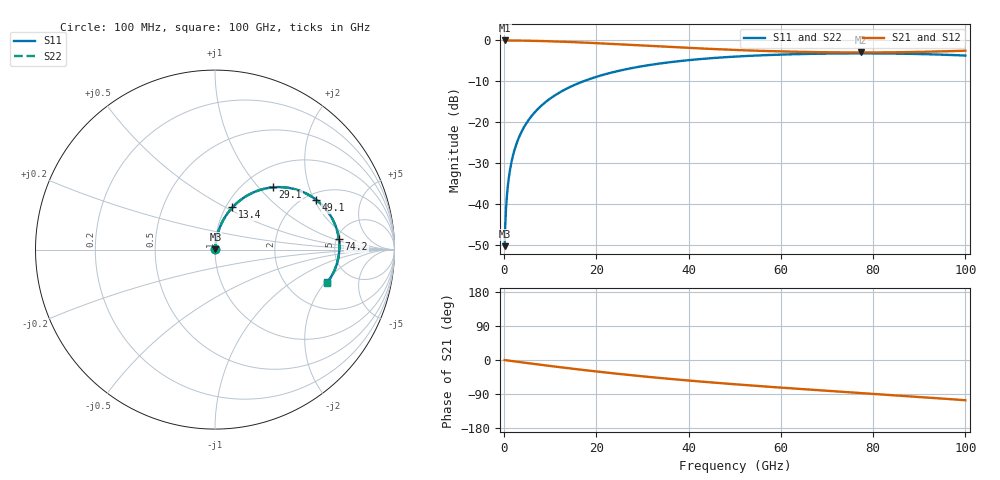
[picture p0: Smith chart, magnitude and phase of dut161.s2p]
! Touchstone file exported from HFSS 2026.1.0
!  File:  C:/ffzhzh/LocalFiles/Ansys_Project_Files/temp_train_RDL_161_1783500084_9504.aedt
!  Generated:  04:42:31 PM Jul  8, 2026
!  Design:  RDL
!  Project:  temp_train_RDL_161_1783500084_9504
! Variables:
!  h_bsmrdl = 2um
!  h_ox = 20um
!  h_rdl = 5um
!  h_sub = 80um
!  h_tmrdl = 3.97um
!  h_tsv = 80um
!  h_via = 3um
!  l_bsmrdl = 300um
!  l_sub = 755.92um
!  l_tmrdl = 355.92um
!  m_sub = 200um
!  pitch = 56.79um
!  r_tsv = 6um
!  s_tmrdl = 10um
!  w_bsmrdl = 18um
!  w_sub = 500um
!  w_tmrdl = 15.17um
!  x_tsv_center1 = 363.505um
!  x_tsv_center2 = 681.505um
!  x_tsv_center3 = 1052.595um
!  x_tsv_center4 = 1370.595um
!  x_tsv_center5 = 1741.685um
!  x_tsv_center6 = 2059.685um
# GHz S MA R 50.000000
! Terminal data exported
! Port[1] = TM_RDL1_1_T1
! Port[2] = TM_RDL1_1_T2
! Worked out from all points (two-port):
!   1000 points, 100 MHz to 100 GHz, reference 50 ohm
!   highest |S21| = -0.02 dB at 100 MHz (marker M1); lowest = -2.9 dB at 77.4 GHz (marker M2)
!   |S21| within 3 dB of the highest: start of sweep to end of sweep
!   lowest |S11| = -50.3 dB at 100 MHz (marker M3), VSWR 1.01, Z = 50.2 + j0.214 ohm
!   |S11| at or under -10 dB: start of sweep to 17.16 GHz
!   |S22| runs from -50.3 to -3.2 dB; largest |S21 - S12| = 4.6e-15
!   S11 on the Smith chart (normalised r, x): 100 MHz: 1.00, +0.00; 13.4 GHz: 1.07, +0.54; 29.1 GHz: 1.34, +1.20; 49.1 GHz: 2.27, +2.08; 74.2 GHz: 5.22, +1.20; 100 GHz: 3.32, -2.11
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0.1  0.003071 43.8  0.9978 -0.2  0.9978 -0.2  0.003071 43.8
! Gamma 0 0 0 0
! Port Impedance 50 0 50 0
0.4  0.008716 73.5  0.9976 -0.7  0.9976 -0.7  0.008716 73.5
0.8  0.01672 79.9  0.9973 -1.3  0.9973 -1.3  0.01672 79.9
1  0.02075 81.2  0.9972 -1.6  0.9972 -1.6  0.02075 81.2
1.3  0.02681 82.2  0.997 -2.1  0.997 -2.1  0.02681 82.2
2.1  0.04299 82.7  0.9962 -3.4  0.9962 -3.4  0.04299 82.7
3.3  0.06712 81.8  0.9944 -5.3  0.9944 -5.3  0.06712 81.8
5  0.1008 79.7  0.9909 -8.1  0.9909 -8.1  0.1008 79.7
7.2  0.1432 76.5  0.9847 -11.5  0.9847 -11.5  0.1432 76.5
10  0.1951 72.4  0.9748 -15.8  0.9748 -15.8  0.1951 72.4
13.4  0.2549 67.5  0.96 -20.9  0.96 -20.9  0.2549 67.5
16.8  0.3106 62.8  0.9429 -25.8  0.9429 -25.8  0.3106 62.8
22.4  0.3927 55.3  0.9112 -33.5  0.9112 -33.5  0.3927 55.3
29.1  0.4748 47.0  0.8711 -42.0  0.8711 -42.0  0.4748 46.9
33.4  0.5186 42.0  0.8459 -47.0  0.8459 -47.0  0.5186 42.0
49.1  0.6291 26.1  0.7684 -63.2  0.7684 -63.2  0.629 26.0
50.1  0.6339 25.2  0.7645 -64.1  0.7645 -64.1  0.6339 25.1
66.7  0.6849 11.0  0.7201 -78.5  0.7201 -78.5  0.6849 10.9
74.2  0.6927 5.0  0.7129 -84.6  0.7129 -84.6  0.6926 4.9
77.4  0.6934 2.4  0.7122 -87.2  0.7122 -87.2  0.6934 2.3
83.4  0.6906 -2.4  0.7147 -92.1  0.7147 -92.1  0.6906 -2.5
100  0.6524 -16.2  0.7483 -106.2  0.7483 -106.2  0.6524 -16.3
